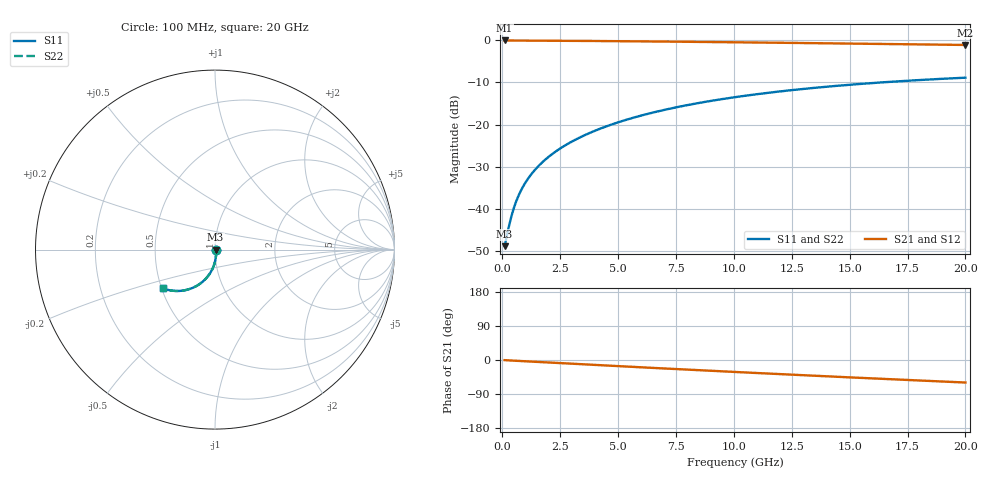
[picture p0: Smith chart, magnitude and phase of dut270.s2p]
! Touchstone file exported from HFSS 2026.1.0
!  File:  C:/ffzhzh/LocalFiles/Ansys_Project_Files/temp_train_BSMRDL_270_1782988913_42984.aedt
!  Generated:  06:43:36 PM Jul  2, 2026
!  Design:  BSMRDL
!  Project:  temp_train_BSMRDL_270_1782988913_42984
! Variables:
!  h_bsmrdl = 4.63um
!  h_ox = 20um
!  h_rdl = 5um
!  h_sub = 80um
!  h_tmrdl = 5um
!  h_tsv = 80um
!  h_via = 3um
!  l_bsmrdl = 991.43um
!  l_sub = 1391.43um
!  l_tmrdl = 200um
!  m_sub = 200um
!  pitch = 26.59um
!  r_tsv = 6um
!  s_tmrdl = 10um
!  w_bsmrdl = 24.95um
!  w_sub = 500um
!  w_tmrdl = 12um
!  x_tsv_center1 = 206um
!  x_tsv_center2 = 1222.38um
!  x_tsv_center3 = 1434.38um
!  x_tsv_center4 = 2450.76um
!  x_tsv_center5 = 2662.76um
!  x_tsv_center6 = 3679.14um
# GHz S MA R 50.000000
! Terminal data exported
! Port[1] = BSM_RDL1_1_T1
! Port[2] = BSM_RDL1_1_T2
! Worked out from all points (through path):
!   200 points, 100 MHz to 20 GHz, reference 50 ohm
!   highest |S21| = -0.03 dB at 100 MHz (marker M1); lowest = -1.1 dB at 20 GHz (marker M2)
!   group delay of S21, straight-line fit = 8.23 ps
!   lowest |S11| = -48.8 dB at 100 MHz (marker M3), VSWR 1.01, Z = 50.4 - j0.0865 ohm
!   |S11| at or under -10 dB: start of sweep to 16.34 GHz
!   |S22| runs from -48.8 to -8.9 dB; largest |S21 - S12| = 7.2e-15
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0.1  0.003614 -13.7  0.9965 -0.4  0.9965 -0.4  0.003614 -13.7
! Gamma 0 0 0 0
! Port Impedance 50 0 50 0
0.3  0.006438 -38.0  0.9948 -1.1  0.9948 -1.1  0.006437 -38.0
0.4  0.008298 -46.8  0.9941 -1.5  0.9941 -1.5  0.008298 -46.8
0.5  0.01027 -53.5  0.9936 -1.8  0.9936 -1.8  0.01026 -53.5
0.6  0.01228 -58.7  0.9932 -2.1  0.9932 -2.1  0.01228 -58.7
0.8  0.01639 -66.1  0.9926 -2.7  0.9926 -2.7  0.01639 -66.1
1.1  0.0226 -73.1  0.9918 -3.7  0.9918 -3.7  0.0226 -73.1
1.5  0.03095 -78.7  0.9909 -5.0  0.9909 -5.0  0.03095 -78.7
1.8  0.03726 -81.6  0.9901 -6.0  0.9901 -6.0  0.03726 -81.6
2.1  0.0436 -83.9  0.9892 -7.0  0.9892 -7.0  0.0436 -83.9
2.7  0.0564 -87.5  0.9872 -8.9  0.9872 -8.9  0.05639 -87.5
3.5  0.07367 -91.3  0.9842 -11.5  0.9842 -11.5  0.07367 -91.3
4.2  0.08892 -94.1  0.9811 -13.7  0.9811 -13.7  0.08891 -94.1
5  0.1064 -97.2  0.9773 -16.2  0.9773 -16.2  0.1064 -97.2
5.9  0.126 -100.4  0.9727 -19.0  0.9727 -19.0  0.126 -100.4
6.8  0.1453 -103.6  0.9679 -21.8  0.9679 -21.8  0.1453 -103.6
8.3  0.1768 -108.7  0.9593 -26.3  0.9593 -26.3  0.1768 -108.7
10.1  0.2126 -114.5  0.9481 -31.7  0.9481 -31.7  0.2126 -114.5
11.7  0.2425 -119.5  0.9377 -36.4  0.9377 -36.4  0.2424 -119.5
13.4  0.2718 -124.7  0.9262 -41.3  0.9262 -41.3  0.2717 -124.7
16.7  0.3212 -134.2  0.9034 -50.5  0.9034 -50.5  0.3211 -134.2
20  0.3604 -143.2  0.8814 -59.4  0.8814 -59.4  0.3604 -143.2
